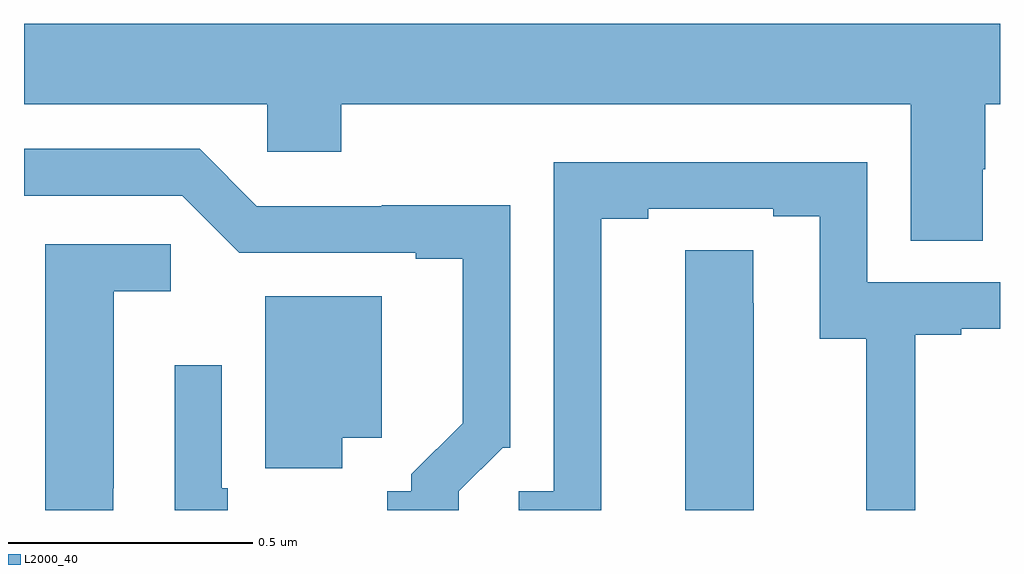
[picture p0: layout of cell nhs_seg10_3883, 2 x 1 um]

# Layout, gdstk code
import gdstk
lib = gdstk.Library(unit=1e-6, precision=1e-09)
def P(c, l, *ps):  # polygons
    for p in ps: c.add(gdstk.Polygon(p, *l))
L2000_40 = (2000, 40)

nhs_seg10_3883 = lib.new_cell('nhs_seg10_3883')
P(nhs_seg10_3883, L2000_40, [(160.965,1284.198),(160.97,1284.198),(160.97,1284.332),(161,1284.332),(161,1284.496),(159,1284.496),(159,1284.332),(159.498,1284.332),(159.498,1284.234),(159.65,1284.234),(159.65,1284.332),(160.817,1284.332),(160.817,1284.052),(160.965,1284.052)],
  [(159.891,1283.538),(159.981,1283.628),(159.996,1283.628),(159.996,1284.125),(159.733,1284.125),(159.733,1284.123),(159.477,1284.123),(159.36,1284.24),(159,1284.24),(159,1284.144),(159.324,1284.144),(159.441,1284.027),(159.803,1284.027),(159.803,1284.015),(159.899,1284.015),(159.899,1283.678),(159.794,1283.573),(159.794,1283.538),(159.744,1283.538),(159.744,1283.5),(159.891,1283.5)],
  [(160.183,1284.097),(160.279,1284.097),(160.279,1284.117),(160.535,1284.117),(160.535,1284.102),(160.631,1284.102),(160.631,1283.851),(160.726,1283.851),(160.726,1283.5),(160.826,1283.5),(160.826,1283.859),(160.921,1283.859),(160.921,1283.871),(161,1283.871),(161,1283.967),(160.728,1283.967),(160.728,1284.213),(160.086,1284.213),(160.086,1283.538),(160.014,1283.538),(160.014,1283.5),(160.183,1283.5)],
  [(159.183,1283.545),(159.184,1283.545),(159.184,1283.948),(159.301,1283.948),(159.301,1284.045),(159.044,1284.045),(159.044,1283.5),(159.183,1283.5)],
  [(160.495,1283.924),(160.494,1283.924),(160.494,1284.032),(160.355,1284.032),(160.355,1283.5),(160.495,1283.5)],
  [(159.652,1283.648),(159.733,1283.648),(159.733,1283.938),(159.494,1283.938),(159.494,1283.586),(159.652,1283.586)],
  [(159.418,1283.545),(159.405,1283.545),(159.405,1283.797),(159.309,1283.797),(159.309,1283.5),(159.418,1283.5)])

lib.write_gds('nhs_seg10_3883.gds')
